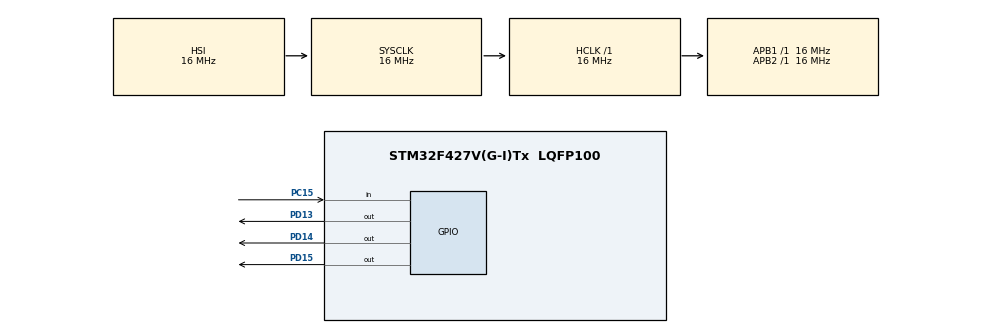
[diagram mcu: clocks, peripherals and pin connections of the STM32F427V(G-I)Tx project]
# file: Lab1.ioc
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Mcu.Family=STM32F4
Mcu.Name=STM32F427V(G-I)Tx
Mcu.Package=LQFP100
NVIC.PriorityGroup=NVIC_PRIORITYGROUP_4
PA13.Mode=JTAG_5_pins
PA13.Signal=SYS_JTMS-SWDIO
PA14.Mode=JTAG_5_pins
PA14.Signal=SYS_JTCK-SWCLK
PA15.Mode=JTAG_5_pins
PA15.Signal=SYS_JTDI
PB3.Mode=JTAG_5_pins
PB3.Signal=SYS_JTDO-SWO
PB4.Mode=JTAG_5_pins
PB4.Signal=SYS_JTRST
PC15/OSC32_OUT.Signal=GPIO_Input
PD13.Signal=GPIO_Output
PD14.Signal=GPIO_Output
PD15.Signal=GPIO_Output
ProjectManager.HeapSize=0x200
ProjectManager.StackSize=0x400
ProjectManager.TargetToolchain=STM32CubeIDE
RCC.AHBFreq_Value=16000000
RCC.APB1Freq_Value=16000000
RCC.APB2Freq_Value=16000000
RCC.CortexFreq_Value=16000000
RCC.HSE_VALUE=25000000
RCC.HSI_VALUE=16000000
RCC.LSE_VALUE=32768
RCC.SYSCLKFreq_VALUE=16000000
RCC.VCOOutputFreq_Value=192000000
board=custom

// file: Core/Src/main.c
/* USER CODE BEGIN Header */
/**
  ******************************************************************************
  * @file           : main.c
  * @brief          : Main program body
  ******************************************************************************
  * @attention
  *
  * Copyright (c) 2022 STMicroelectronics.
  * All rights reserved.
  *
  * This software is licensed under terms that can be found in the LICENSE file
  * in the root directory of this software component.
  * If no LICENSE file comes with this software, it is provided AS-IS.
  *
  ******************************************************************************
  */
/* USER CODE END Header */
#include "main.h"
#include "gpio.h"

/* USER CODE BEGIN PV */

uint16_t GREEN = GPIO_PIN_13;
uint16_t YELLOW = GPIO_PIN_14;
uint16_t RED = GPIO_PIN_15;

/* USER CODE END PV */

void SystemClock_Config(void);

/* USER CODE BEGIN 0 */

void wait(uint32_t duration)
{
	uint32_t startTime = HAL_GetTick();
	while((HAL_GetTick() - startTime) < duration)
	{
	}
}

void turnAllOff()
{
	HAL_GPIO_WritePin(GPIOD, GPIO_PIN_13, GPIO_PIN_RESET);
	HAL_GPIO_WritePin(GPIOD, GPIO_PIN_14, GPIO_PIN_RESET);
	HAL_GPIO_WritePin(GPIOD, GPIO_PIN_15, GPIO_PIN_RESET);
}

void turnSpecificLightOn(uint16_t light)
{
	turnAllOff();
	HAL_GPIO_WritePin(GPIOD, light, GPIO_PIN_SET);
}

void blinkSpecificLight(uint32_t count, uint16_t light, uint32_t blinkDuration,
                        uint8_t *buttonFlag, uint32_t *durationForRed)
{
	for(uint32_t i = 0; i < count; i++){
		turnAllOff();
		uint32_t t0 = HAL_GetTick();
		while ((HAL_GetTick() - t0) < blinkDuration)
		{
			if(HAL_GPIO_ReadPin(GPIOC, GPIO_PIN_15) == 0 && *buttonFlag == 0) {
				*durationForRed = *durationForRed / 4;
				*buttonFlag = 1;
			}
		}

		turnSpecificLightOn(light);
		t0 = HAL_GetTick();
		while ((HAL_GetTick() - t0) < blinkDuration)
		{
			if(HAL_GPIO_ReadPin(GPIOC, GPIO_PIN_15) == 0 && *buttonFlag == 0) {
				*durationForRed = *durationForRed / 4;
				*buttonFlag = 1;
			}
		}
	}
}

/* USER CODE END 0 */

int main(void)
{

  /* MCU Configuration--------------------------------------------------------*/

  /* Reset of all peripherals, Initializes the Flash interface and the Systick. */
  HAL_Init();

  /* Configure the system clock */
  SystemClock_Config();

  /* Initialize all configured peripherals */

  MX_GPIO_Init();

  /* USER CODE BEGIN 2 */

  uint32_t startTime = 0;
  uint32_t duration = 2000;
  uint32_t blinkDuration = 500;
  uint32_t durationForRed = 4 * duration;
  uint32_t durationForYellow = 3000;
  uint8_t buttonFlag = 0;

  /* USER CODE END 2 */

  /* Infinite loop */
  /* USER CODE BEGIN WHILE */
  while (1)
  {
	  startTime = HAL_GetTick();
	  //Red on
	  turnSpecificLightOn(RED);

	  while((HAL_GetTick() - startTime) < durationForRed)
	  {
		  if(HAL_GPIO_ReadPin(GPIOC, GPIO_PIN_15) == 0 && buttonFlag == 0) {
			  durationForRed = durationForRed / 4;
			  buttonFlag = 1;
		  }
	  }

	  //Red of, Green on
	  turnSpecificLightOn(GREEN);

	  wait(duration);

	  // Uh
	  durationForRed = 4 * duration;
	  buttonFlag = 0;

	  //Green blinks
	  blinkSpecificLight(3, GREEN, blinkDuration, &buttonFlag, &durationForRed);

	  //Yellow on
	  turnSpecificLightOn(YELLOW);

	  startTime = HAL_GetTick();
	  while((HAL_GetTick() - startTime) < durationForYellow)
	  {
		  if(HAL_GPIO_ReadPin(GPIOC, GPIO_PIN_15) == 0 && buttonFlag == 0) {
			  durationForRed = durationForRed / 4;
			  buttonFlag = 1;
		  }
	  }

    /* USER CODE END WHILE */

  }
}

void SystemClock_Config(void)
{
  RCC_OscInitTypeDef RCC_OscInitStruct = {0};
  RCC_ClkInitTypeDef RCC_ClkInitStruct = {0};

  /** Configure the main internal regulator output voltage
  */
  __HAL_RCC_PWR_CLK_ENABLE();
  __HAL_PWR_VOLTAGESCALING_CONFIG(PWR_REGULATOR_VOLTAGE_SCALE3);

  /** Initializes the RCC Oscillators according to the specified parameters
  * in the RCC_OscInitTypeDef structure.
  */
  RCC_OscInitStruct.OscillatorType = RCC_OSCILLATORTYPE_HSI;
  RCC_OscInitStruct.HSIState = RCC_HSI_ON;
  RCC_OscInitStruct.HSICalibrationValue = RCC_HSICALIBRATION_DEFAULT;
  RCC_OscInitStruct.PLL.PLLState = RCC_PLL_NONE;
  if (HAL_RCC_OscConfig(&RCC_OscInitStruct) != HAL_OK)
  {
    Error_Handler();
  }

  /** Initializes the CPU, AHB and APB buses clocks
  */
  RCC_ClkInitStruct.ClockType = RCC_CLOCKTYPE_HCLK|RCC_CLOCKTYPE_SYSCLK
                              |RCC_CLOCKTYPE_PCLK1|RCC_CLOCKTYPE_PCLK2;
  RCC_ClkInitStruct.SYSCLKSource = RCC_SYSCLKSOURCE_HSI;
  RCC_ClkInitStruct.AHBCLKDivider = RCC_SYSCLK_DIV1;
  RCC_ClkInitStruct.APB1CLKDivider = RCC_HCLK_DIV1;
  RCC_ClkInitStruct.APB2CLKDivider = RCC_HCLK_DIV1;

  if (HAL_RCC_ClockConfig(&RCC_ClkInitStruct, FLASH_LATENCY_0) != HAL_OK)
  {
    Error_Handler();
  }
}

void Error_Handler(void)
{
  __disable_irq();
  while (1)
  {
  }
}
